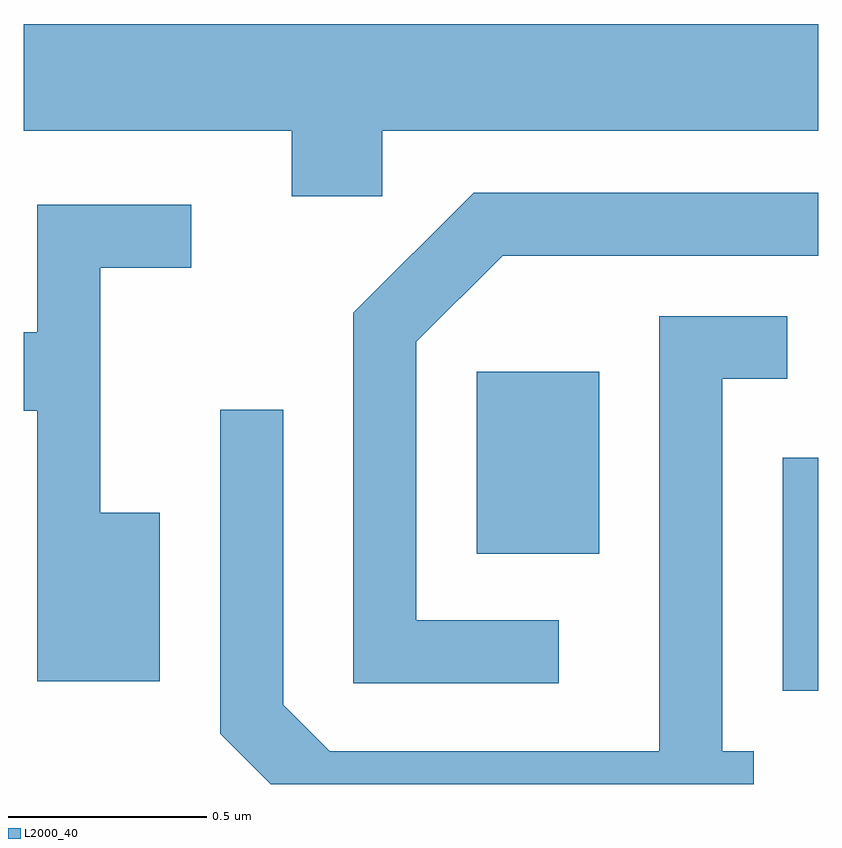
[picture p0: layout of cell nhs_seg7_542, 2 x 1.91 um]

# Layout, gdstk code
import gdstk
lib = gdstk.Library(unit=1e-6, precision=1e-09)
def R(c, l, rs):  # rectangles x0, y0, x1, y1
    for r in rs: c.add(gdstk.rectangle(r[:2], r[2:], *l))
def P(c, l, *ps):  # polygons
    for p in ps: c.add(gdstk.Polygon(p, *l))
L2000_40 = (2000, 40)

nhs_seg7_542 = lib.new_cell('nhs_seg7_542')
R(nhs_seg7_542, L2000_40, [(190.521,1799.486,190.611,1800.073), (189.751,1799.831,190.059,1800.289)])
P(nhs_seg7_542, L2000_40, [(189.514,1800.896),(190.611,1800.896),(190.611,1801.164),(188.611,1801.164),(188.611,1800.896),(189.286,1800.896),(189.286,1800.731),(189.514,1800.731)],
  [(189.958,1799.664),(189.599,1799.664),(189.599,1800.364),(189.817,1800.581),(190.611,1800.581),(190.611,1800.739),(189.744,1800.739),(189.441,1800.437),(189.441,1799.506),(189.958,1799.506)],
  [(188.954,1799.934),(188.804,1799.934),(188.804,1800.551),(189.033,1800.551),(189.033,1800.709),(188.646,1800.709),(188.646,1800.389),(188.611,1800.389),(188.611,1800.191),(188.646,1800.191),(188.646,1799.511),(188.954,1799.511)],
  [(190.448,1799.334),(190.369,1799.334),(190.369,1800.271),(190.533,1800.271),(190.533,1800.429),(190.211,1800.429),(190.211,1799.334),(189.382,1799.334),(189.264,1799.452),(189.264,1800.193),(189.106,1800.193),(189.106,1799.379),(189.233,1799.252),(190.448,1799.252)])

lib.write_gds('nhs_seg7_542.gds')
